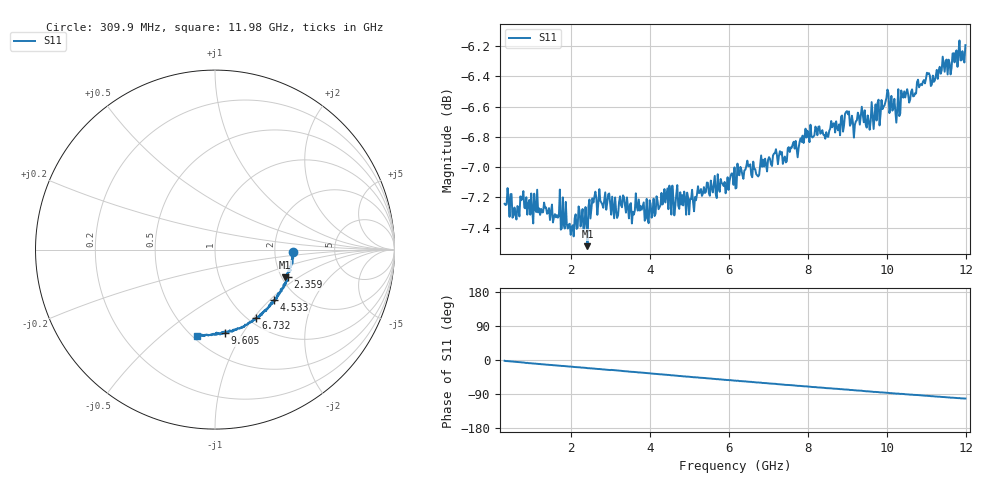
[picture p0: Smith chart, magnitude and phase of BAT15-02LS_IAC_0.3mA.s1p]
! Infineon Technologies  Discrete & RF Semiconductors
! BAT15-02ELS
! IAC = 0.3 mA
! One-Port S-Parameters
# Hz  S  MA  R  50
!f  S11
!Hz  Mag  Ang
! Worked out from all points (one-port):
!   468 points, 309.9 MHz to 11.98 GHz, reference 50 ohm
!   lowest |S11| = -7.5 dB at 2.409 GHz (marker M1), VSWR 2.45, Z = 104 - j39.1 ohm
!   |S11| at or under -10 dB: nowhere
!   S11 on the Smith chart (normalised r, x): 309.9 MHz: 2.53, -0.10; 2.359 GHz: 2.15, -0.81; 4.533 GHz: 1.54, -1.05; 6.732 GHz: 1.08, -1.03; 9.605 GHz: 0.70, -0.84; 11.98 GHz: 0.53, -0.67
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3.0985e8  0.4344 -2.0
4.347875e8  0.4301 -3.4
5.59725e8  0.4331 -4.2
7.59625e8  0.4361 -6.5
1.784112e9  0.4365 -15.7
2.009e9  0.4266 -18.0
2.233888e9  0.4269 -19.6
2.358825e9  0.4333 -20.7
2.4088e9  0.4206 -21.5
2.583712e9  0.4367 -22.9
3.233388e9  0.4369 -28.1
3.90805e9  0.436 -34.5
4.532738e9  0.4308 -40.5
4.70765e9  0.4337 -41.9
6.156925e9  0.4395 -54.3
6.481762e9  0.447 -57.2
6.731638e9  0.4435 -59.2
7.6062e9  0.4545 -66.7
8.230888e9  0.4577 -72.3
9.080462e9  0.4617 -79.1
9.6052e9  0.4694 -83.4
9.980012e9  0.4709 -86.4
1.017991e10  0.4706 -88.1
1.052974e10  0.4722 -90.9
1.102949e10  0.4794 -94.6
1.115442e10  0.4789 -95.5
1.145428e10  0.4804 -98.0
1.197901e10  0.4902 -101.7
